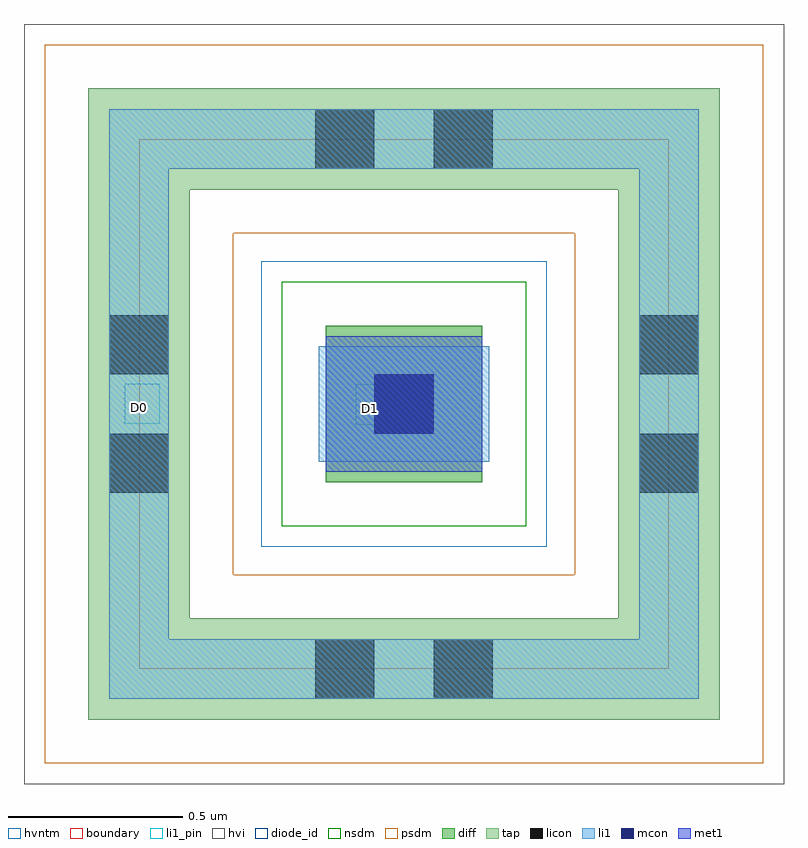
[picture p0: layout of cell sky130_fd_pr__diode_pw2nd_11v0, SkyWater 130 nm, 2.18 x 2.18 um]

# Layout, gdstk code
import gdstk
lib = gdstk.Library(unit=1e-6, precision=1e-09)
def R(c, l, rs):  # rectangles x0, y0, x1, y1
    for r in rs: c.add(gdstk.rectangle(r[:2], r[2:], *l))
diff = (65, 20)
tap = (65, 44)
licon = (66, 44)
li1_pin = (67, 16)
li1 = (67, 20)
mcon = (67, 44)
met1 = (68, 20)
hvi = (75, 20)
diode_id = (81, 23)
nsdm = (93, 44)
psdm = (94, 20)
hvntm = (125, 20)
boundary = (235, 4)

sky130_fd_pr__diode_pw2n = lib.new_cell('sky130_fd_pr__diode_pw2nd_11v0')
R(sky130_fd_pr__diode_pw2n, diff, [(-8.815,-3.235,-8.365,-2.785)])
R(sky130_fd_pr__diode_pw2n, tap, [(-9.495,-3.915,-7.685,-3.625), (-9.495,-3.625,-9.205,-2.395), (-7.975,-3.625,-7.685,-2.395), (-9.495,-2.395,-7.685,-2.105)])
R(sky130_fd_pr__diode_pw2n, licon, [(-8.845,-3.855,-8.675,-3.685), (-8.505,-3.855,-8.335,-3.685), (-9.435,-3.265,-9.265,-3.095), (-7.915,-3.265,-7.745,-3.095), (-8.675,-3.095,-8.505,-2.925), (-9.435,-2.925,-9.265,-2.755), (-7.915,-2.925,-7.745,-2.755), (-8.845,-2.335,-8.675,-2.165), (-8.505,-2.335,-8.335,-2.165)])
R(sky130_fd_pr__diode_pw2n, li1_pin, [(-8.728,-3.069,-8.627,-2.954), (-9.391,-3.067,-9.29,-2.952)])
R(sky130_fd_pr__diode_pw2n, li1, [(-9.435,-3.855,-7.745,-3.685), (-9.435,-3.685,-9.265,-2.335), (-7.915,-3.685,-7.745,-2.335), (-8.835,-3.175,-8.345,-2.845), (-9.435,-2.335,-7.745,-2.165)])
R(sky130_fd_pr__diode_pw2n, mcon, [(-8.675,-3.095,-8.505,-2.925)])
R(sky130_fd_pr__diode_pw2n, met1, [(-8.815,-3.205,-8.365,-2.815)])
R(sky130_fd_pr__diode_pw2n, hvi, [(-9.68,-4.1,-7.5,-1.92)])
R(sky130_fd_pr__diode_pw2n, diode_id, [(-8.815,-3.235,-8.365,-2.785)])
R(sky130_fd_pr__diode_pw2n, nsdm, [(-8.94,-3.36,-8.24,-2.66)])
R(sky130_fd_pr__diode_pw2n, psdm, [(-9.62,-4.04,-7.56,-3.5), (-9.62,-3.5,-9.08,-2.52), (-8.1,-3.5,-7.56,-2.52), (-9.62,-2.52,-7.56,-1.98)])
R(sky130_fd_pr__diode_pw2n, hvntm, [(-9,-3.42,-8.18,-2.6)])
R(sky130_fd_pr__diode_pw2n, boundary, [(-9.35,-3.77,-7.83,-2.25)])
sky130_fd_pr__diode_pw2n.add(gdstk.Label('D0', (-9.35,-3.021), layer=67, texttype=5))
sky130_fd_pr__diode_pw2n.add(gdstk.Label('D1', (-8.687,-3.023), layer=67, texttype=5))

lib.write_gds('sky130_fd_pr__diode_pw2nd_11v0.gds')
